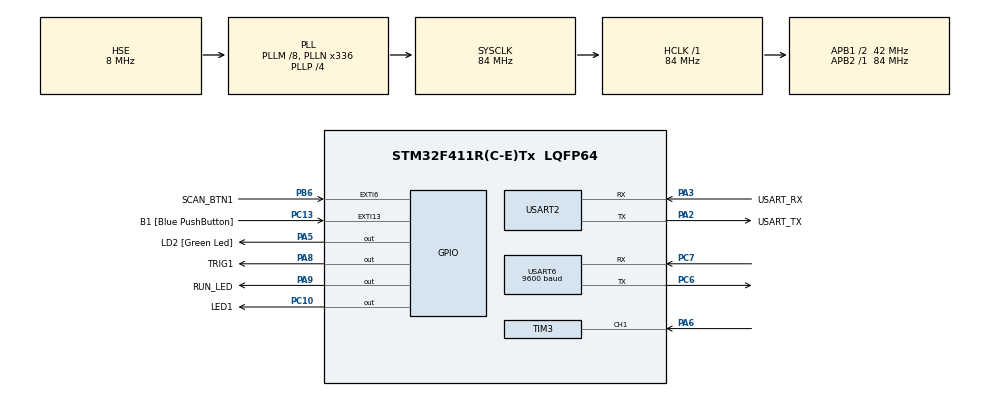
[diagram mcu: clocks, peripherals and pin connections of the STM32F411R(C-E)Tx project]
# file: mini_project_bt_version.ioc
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Mcu.Family=STM32F4
Mcu.Name=STM32F411R(C-E)Tx
Mcu.Package=LQFP64
NVIC.EXTI9_5_IRQn=true\:0\:0\:false\:false\:true\:true\:true\:true
NVIC.PriorityGroup=NVIC_PRIORITYGROUP_0
NVIC.TIM2_IRQn=true\:0\:0\:false\:false\:true\:true\:true\:true
NVIC.TIM3_IRQn=true\:0\:0\:false\:false\:true\:true\:true\:true
NVIC.USART2_IRQn=true\:0\:0\:false\:false\:true\:true\:true\:true
NVIC.USART6_IRQn=true\:0\:0\:false\:false\:true\:true\:true\:true
PA13.GPIO_Label=TMS
PA13.Mode=Serial_Wire
PA13.Signal=SYS_JTMS-SWDIO
PA14.GPIO_Label=TCK
PA14.Mode=Serial_Wire
PA14.Signal=SYS_JTCK-SWCLK
PA2.GPIO_Label=USART_TX
PA2.Mode=Asynchronous
PA2.Signal=USART2_TX
PA3.GPIO_Label=USART_RX
PA3.Mode=Asynchronous
PA3.Signal=USART2_RX
PA5.GPIO_Label=LD2 [Green Led]
PA5.Signal=GPIO_Output
PA6.Signal=S_TIM3_CH1
PA8.GPIO_Label=TRIG1
PA8.Signal=GPIO_Output
PA9.GPIO_Label=RUN_LED
PA9.Signal=GPIO_Output
PB3.GPIO_Label=SWO
PB3.Signal=SYS_JTDO-SWO
PB6.GPIO_Label=SCAN_BTN1
PB6.Signal=GPXTI6
PC10.GPIO_Label=LED1
PC10.Signal=GPIO_Output
PC13-ANTI_TAMP.GPIO_Label=B1 [Blue PushButton]
PC13-ANTI_TAMP.GPIO_ModeDefaultEXTI=GPIO_MODE_IT_FALLING
PC13-ANTI_TAMP.Signal=GPXTI13
PC14-OSC32_IN.Signal=RCC_OSC32_IN
PC15-OSC32_OUT.Signal=RCC_OSC32_OUT
PC6.Mode=Asynchronous
PC6.Signal=USART6_TX
PC7.Mode=Asynchronous
PC7.Signal=USART6_RX
PH0\ -\ OSC_IN.Mode=HSE-External-Oscillator
PH0\ -\ OSC_IN.Signal=RCC_OSC_IN
PH1\ -\ OSC_OUT.Mode=HSE-External-Oscillator
PH1\ -\ OSC_OUT.Signal=RCC_OSC_OUT
ProjectManager.HeapSize=0x200
ProjectManager.StackSize=0x400
ProjectManager.TargetToolchain=STM32CubeIDE
RCC.48MHZClocksFreq_Value=84000000
RCC.AHBFreq_Value=84000000
RCC.APB1CLKDivider=RCC_HCLK_DIV2
RCC.APB1Freq_Value=42000000
RCC.APB1TimFreq_Value=84000000
RCC.APB2Freq_Value=84000000
RCC.APB2TimFreq_Value=84000000
RCC.CortexFreq_Value=84000000
RCC.FLatency-AdvancedSettings=FLASH_LATENCY_2
RCC.HCLKFreq_Value=84000000
RCC.HSE_VALUE=8000000
RCC.HSI_VALUE=16000000
RCC.LSE_VALUE=32768
RCC.PLLM=8
RCC.PLLN=336
RCC.PLLP=RCC_PLLP_DIV4
RCC.PLLSourceVirtual=RCC_PLLSOURCE_HSE
RCC.SYSCLKFreq_VALUE=84000000
RCC.SYSCLKSource=RCC_SYSCLKSOURCE_PLLCLK
RCC.VCOOutputFreq_Value=336000000
SH.S_TIM3_CH1.0=TIM3_CH1,Input_Capture1_from_TI1
TIM2.Period=10000-1
TIM2.Prescaler=8400-1
TIM3.Channel-Input_Capture1_from_TI1=TIM_CHANNEL_1
TIM3.Period=0xffff-1
TIM3.Prescaler=84-1
USART2.VirtualMode=VM_ASYNC
USART6.BaudRate=9600
USART6.VirtualMode=VM_ASYNC
VP_TIM2_VS_ClockSourceINT.Mode=Internal
VP_TIM3_VS_ClockSourceINT.Mode=Internal
board=NUCLEO-F411RE

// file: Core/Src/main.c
/* USER CODE BEGIN Header */
/**
  ******************************************************************************
  * @file           : main.c
  * @brief          : Main program body
  ******************************************************************************
  * @attention
  *
  * Copyright (c) 2024 STMicroelectronics.
  * All rights reserved.
  *
  * This software is licensed under terms that can be found in the LICENSE file
  * in the root directory of this software component.
  * If no LICENSE file comes with this software, it is provided AS-IS.
  *
  ******************************************************************************
  */
/* USER CODE END Header */
#include "main.h"

/* USER CODE BEGIN Includes */
#include <stdio.h>
#include <string.h>
/* USER CODE END Includes */

/* USER CODE BEGIN PD */
#ifdef __GNUC__
/* With GCC, small printf (option LD Linker->Libraries->Small printf
   set to 'Yes') calls __io_putchar() */
#define PUTCHAR_PROTOTYPE int __io_putchar(int ch)
#else
#define PUTCHAR_PROTOTYPE int fputc(int ch, FILE *f)
#endif /* __GNUC__ */
#define ARR_CNT 5
#define CMD_SIZE 50

#define DEBUG 1
/* USER CODE END PD */

TIM_HandleTypeDef htim2;
TIM_HandleTypeDef htim3;

UART_HandleTypeDef huart2;
UART_HandleTypeDef huart6;

/* USER CODE BEGIN PV */
uint8_t rx2char;
volatile unsigned char rx2Flag = 0;
volatile char rx2Data[50];
volatile unsigned char btFlag = 0;
uint8_t btchar;
char btData[50];

uint32_t IC_Val1 = 0;
uint32_t IC_Val2 = 0;
uint32_t Difference = 0;
uint8_t Is_First_Captured = 0;  // is the first value captured ?
uint8_t Distance  = 0;

#define ARRAYNUM 10
int readings[ARRAYNUM];      // the readings from the analog input
int idx = 0;              // the index of the current reading
int total = 0;                  // the running total
int average = 0;                // the average

#define MARGIN 11
volatile unsigned int tim2Sec;
volatile unsigned int tim2Min;
volatile unsigned int tim2SecFlag;
volatile int scanFlag1;
volatile int scanReq1;
volatile int mailOnFlag1;

volatile int BTN1;
volatile int BTN2;
volatile int BTN3;
volatile int BTN4;
/* USER CODE END PV */

void SystemClock_Config(void);
static void MX_GPIO_Init(void);
static void MX_USART2_UART_Init(void);
static void MX_TIM2_Init(void);
static void MX_TIM3_Init(void);
static void MX_USART6_UART_Init(void);
/* USER CODE BEGIN PFP */
void MX_GPIO_LED_ON(int pin);
void MX_GPIO_LED_OFF(int pin);
void bluetooth_Event();

void delay (uint16_t time);
void HAL_TIM_IC_CaptureCallback(TIM_HandleTypeDef *htim);
void HCSR04_Read (void);
/* USER CODE END PFP */

int main(void)
{

  /* USER CODE BEGIN 1 */
	int prevScanFlag1 = 0;
	char sendBuf[CMD_SIZE]={0};
  /* USER CODE END 1 */

  /* MCU Configuration--------------------------------------------------------*/

  /* Reset of all peripherals, Initializes the Flash interface and the Systick. */
  HAL_Init();

  /* Configure the system clock */
  SystemClock_Config();

  /* Initialize all configured peripherals */
  MX_GPIO_Init();
  MX_USART2_UART_Init();
  MX_TIM2_Init();
  MX_TIM3_Init();
  MX_USART6_UART_Init();
  /* USER CODE BEGIN 2 */
  HAL_UART_Receive_IT(&huart2, &rx2char,1);
  HAL_UART_Receive_IT(&huart6, &btchar,1);
  if(HAL_TIM_Base_Start_IT(&htim2) != HAL_OK)
  {
	  Error_Handler();
  }
  printf("Start main() \r\n");
  /* USER CODE END 2 */

  /* Infinite loop */
  /* USER CODE BEGIN WHILE */
  while (1)
  {
	  if(rx2Flag)
	  {
		  printf("recv2 : %s\r\n",rx2Data);
		  rx2Flag =0;
		  //HAL_UART_Transmit(&huart6, (uint8_t *)buf, strlen(buf), 0xFFFF);
	  }
	  if(btFlag)
	  {
		  printf("bt : %s\r\n",btData);
		  btFlag =0;
		  bluetooth_Event();
	  }

	  if(scanFlag1 == 1)
	  {
		  HAL_TIM_IC_Start_IT(&htim3, TIM_CHANNEL_1);
	  	  HCSR04_Read();
#if DEBUG
	  	  printf("%d cm\r\n",Distance);
#endif
	  }
#if DEBUG
	  else
	  {
		  printf("scanFlag1 : %d\t", scanFlag1);
		  printf("BTN1_State : %d\t",BTN1);
		  printf("%d cm\t",Distance);
		  printf("mailOnFlag1 : %d\t", mailOnFlag1);
		  printf("Min : %d, Sec : %d\n\r",tim2Min, tim2Sec);
	  }
#endif

	  if((!scanFlag1 && BTN1) || (tim2Sec == 0) || scanReq1)
	  {
		  scanFlag1 = 1;
		  BTN1 = 0;
		  tim2Sec = 0;
		  tim2Min = 0;
		  if(scanReq1)
			  scanReq1 = 0;
	  }

	  if(tim2Sec > 5)	//mail scanning in 5sec
		  scanFlag1 = 0;

	  if(Distance > 0 && Distance < MARGIN && scanFlag1)
		  mailOnFlag1 = 1;
	  else if(Distance >= 5 && scanFlag1)
		  mailOnFlag1 = 0;

	  HAL_GPIO_WritePin(LED1_GPIO_Port, LED1_Pin, mailOnFlag1);

	  if(prevScanFlag1 != scanFlag1)
	  {
		  if(scanFlag1 == 1)
		  {
			  prevScanFlag1 = scanFlag1;
		  }
		  else if(scanFlag1 == 0)
		  {
			  prevScanFlag1 = scanFlag1;

			  if(mailOnFlag1)
			  {
			  	  sprintf(sendBuf,"[PJT_SQL]MAIL@o\n");
			  	  HAL_UART_Transmit(&huart6, (uint8_t *)sendBuf, strlen(sendBuf), 0xFFFF);
			  	  //esp_send_data(sendBuf);
			  	  printf("Debug send : %s\r\n",sendBuf);
			  }
			  else
			  {
				  sprintf(sendBuf,"[PJT_SQL]MAIL@x\n");
				  HAL_UART_Transmit(&huart6, (uint8_t *)sendBuf, strlen(sendBuf), 0xFFFF);
				  //esp_send_data(sendBuf);
				  printf("Debug send : %s\r\n",sendBuf);
			  }
		  }
	  }

	  HAL_Delay(100);
    /* USER CODE END WHILE */

  }
}

void SystemClock_Config(void)
{
  RCC_OscInitTypeDef RCC_OscInitStruct = {0};
  RCC_ClkInitTypeDef RCC_ClkInitStruct = {0};

  /** Configure the main internal regulator output voltage
  */
  __HAL_RCC_PWR_CLK_ENABLE();
  __HAL_PWR_VOLTAGESCALING_CONFIG(PWR_REGULATOR_VOLTAGE_SCALE1);

  /** Initializes the RCC Oscillators according to the specified parameters
  * in the RCC_OscInitTypeDef structure.
  */
  RCC_OscInitStruct.OscillatorType = RCC_OSCILLATORTYPE_HSE;
  RCC_OscInitStruct.HSEState = RCC_HSE_ON;
  RCC_OscInitStruct.PLL.PLLState = RCC_PLL_ON;
  RCC_OscInitStruct.PLL.PLLSource = RCC_PLLSOURCE_HSE;
  RCC_OscInitStruct.PLL.PLLM = 8;
  RCC_OscInitStruct.PLL.PLLN = 336;
  RCC_OscInitStruct.PLL.PLLP = RCC_PLLP_DIV4;
  RCC_OscInitStruct.PLL.PLLQ = 4;
  if (HAL_RCC_OscConfig(&RCC_OscInitStruct) != HAL_OK)
  {
    Error_Handler();
  }

  /** Initializes the CPU, AHB and APB buses clocks
  */
  RCC_ClkInitStruct.ClockType = RCC_CLOCKTYPE_HCLK|RCC_CLOCKTYPE_SYSCLK
                              |RCC_CLOCKTYPE_PCLK1|RCC_CLOCKTYPE_PCLK2;
  RCC_ClkInitStruct.SYSCLKSource = RCC_SYSCLKSOURCE_PLLCLK;
  RCC_ClkInitStruct.AHBCLKDivider = RCC_SYSCLK_DIV1;
  RCC_ClkInitStruct.APB1CLKDivider = RCC_HCLK_DIV2;
  RCC_ClkInitStruct.APB2CLKDivider = RCC_HCLK_DIV1;

  if (HAL_RCC_ClockConfig(&RCC_ClkInitStruct, FLASH_LATENCY_2) != HAL_OK)
  {
    Error_Handler();
  }
}

static void MX_TIM2_Init(void)
{

  TIM_ClockConfigTypeDef sClockSourceConfig = {0};
  TIM_MasterConfigTypeDef sMasterConfig = {0};

  htim2.Instance = TIM2;
  htim2.Init.Prescaler = 8400-1;
  htim2.Init.CounterMode = TIM_COUNTERMODE_UP;
  htim2.Init.Period = 10000-1;
  htim2.Init.ClockDivision = TIM_CLOCKDIVISION_DIV1;
  htim2.Init.AutoReloadPreload = TIM_AUTORELOAD_PRELOAD_DISABLE;
  if (HAL_TIM_Base_Init(&htim2) != HAL_OK)
  {
    Error_Handler();
  }
  sClockSourceConfig.ClockSource = TIM_CLOCKSOURCE_INTERNAL;
  if (HAL_TIM_ConfigClockSource(&htim2, &sClockSourceConfig) != HAL_OK)
  {
    Error_Handler();
  }
  sMasterConfig.MasterOutputTrigger = TIM_TRGO_RESET;
  sMasterConfig.MasterSlaveMode = TIM_MASTERSLAVEMODE_DISABLE;
  if (HAL_TIMEx_MasterConfigSynchronization(&htim2, &sMasterConfig) != HAL_OK)
  {
    Error_Handler();
  }

}

static void MX_TIM3_Init(void)
{

  TIM_ClockConfigTypeDef sClockSourceConfig = {0};
  TIM_MasterConfigTypeDef sMasterConfig = {0};
  TIM_IC_InitTypeDef sConfigIC = {0};

  htim3.Instance = TIM3;
  htim3.Init.Prescaler = 84-1;
  htim3.Init.CounterMode = TIM_COUNTERMODE_UP;
  htim3.Init.Period = 0xffff-1;
  htim3.Init.ClockDivision = TIM_CLOCKDIVISION_DIV1;
  htim3.Init.AutoReloadPreload = TIM_AUTORELOAD_PRELOAD_DISABLE;
  if (HAL_TIM_Base_Init(&htim3) != HAL_OK)
  {
    Error_Handler();
  }
  sClockSourceConfig.ClockSource = TIM_CLOCKSOURCE_INTERNAL;
  if (HAL_TIM_ConfigClockSource(&htim3, &sClockSourceConfig) != HAL_OK)
  {
    Error_Handler();
  }
  if (HAL_TIM_IC_Init(&htim3) != HAL_OK)
  {
    Error_Handler();
  }
  sMasterConfig.MasterOutputTrigger = TIM_TRGO_RESET;
  sMasterConfig.MasterSlaveMode = TIM_MASTERSLAVEMODE_DISABLE;
  if (HAL_TIMEx_MasterConfigSynchronization(&htim3, &sMasterConfig) != HAL_OK)
  {
    Error_Handler();
  }
  sConfigIC.ICPolarity = TIM_INPUTCHANNELPOLARITY_RISING;
  sConfigIC.ICSelection = TIM_ICSELECTION_DIRECTTI;
  sConfigIC.ICPrescaler = TIM_ICPSC_DIV1;
  sConfigIC.ICFilter = 0;
  if (HAL_TIM_IC_ConfigChannel(&htim3, &sConfigIC, TIM_CHANNEL_1) != HAL_OK)
  {
    Error_Handler();
  }

}

static void MX_USART2_UART_Init(void)
{

  huart2.Instance = USART2;
  huart2.Init.BaudRate = 115200;
  huart2.Init.WordLength = UART_WORDLENGTH_8B;
  huart2.Init.StopBits = UART_STOPBITS_1;
  huart2.Init.Parity = UART_PARITY_NONE;
  huart2.Init.Mode = UART_MODE_TX_RX;
  huart2.Init.HwFlowCtl = UART_HWCONTROL_NONE;
  huart2.Init.OverSampling = UART_OVERSAMPLING_16;
  if (HAL_UART_Init(&huart2) != HAL_OK)
  {
    Error_Handler();
  }

}

static void MX_USART6_UART_Init(void)
{

  huart6.Instance = USART6;
  huart6.Init.BaudRate = 9600;
  huart6.Init.WordLength = UART_WORDLENGTH_8B;
  huart6.Init.StopBits = UART_STOPBITS_1;
  huart6.Init.Parity = UART_PARITY_NONE;
  huart6.Init.Mode = UART_MODE_TX_RX;
  huart6.Init.HwFlowCtl = UART_HWCONTROL_NONE;
  huart6.Init.OverSampling = UART_OVERSAMPLING_16;
  if (HAL_UART_Init(&huart6) != HAL_OK)
  {
    Error_Handler();
  }

}

static void MX_GPIO_Init(void)
{
  GPIO_InitTypeDef GPIO_InitStruct = {0};

  /* GPIO Ports Clock Enable */
  __HAL_RCC_GPIOC_CLK_ENABLE();
  __HAL_RCC_GPIOH_CLK_ENABLE();
  __HAL_RCC_GPIOA_CLK_ENABLE();
  __HAL_RCC_GPIOB_CLK_ENABLE();

  /*Configure GPIO pin Output Level */
  HAL_GPIO_WritePin(GPIOA, LD2_Pin|TRIG1_Pin|RUN_LED_Pin, GPIO_PIN_RESET);

  /*Configure GPIO pin Output Level */
  HAL_GPIO_WritePin(LED1_GPIO_Port, LED1_Pin, GPIO_PIN_RESET);

  /*Configure GPIO pin : B1_Pin */
  GPIO_InitStruct.Pin = B1_Pin;
  GPIO_InitStruct.Mode = GPIO_MODE_IT_FALLING;
  GPIO_InitStruct.Pull = GPIO_NOPULL;
  HAL_GPIO_Init(B1_GPIO_Port, &GPIO_InitStruct);

  /*Configure GPIO pins : LD2_Pin TRIG1_Pin RUN_LED_Pin */
  GPIO_InitStruct.Pin = LD2_Pin|TRIG1_Pin|RUN_LED_Pin;
  GPIO_InitStruct.Mode = GPIO_MODE_OUTPUT_PP;
  GPIO_InitStruct.Pull = GPIO_NOPULL;
  GPIO_InitStruct.Speed = GPIO_SPEED_FREQ_LOW;
  HAL_GPIO_Init(GPIOA, &GPIO_InitStruct);

  /*Configure GPIO pin : LED1_Pin */
  GPIO_InitStruct.Pin = LED1_Pin;
  GPIO_InitStruct.Mode = GPIO_MODE_OUTPUT_PP;
  GPIO_InitStruct.Pull = GPIO_NOPULL;
  GPIO_InitStruct.Speed = GPIO_SPEED_FREQ_LOW;
  HAL_GPIO_Init(LED1_GPIO_Port, &GPIO_InitStruct);

  /*Configure GPIO pin : SCAN_BTN1_Pin */
  GPIO_InitStruct.Pin = SCAN_BTN1_Pin;
  GPIO_InitStruct.Mode = GPIO_MODE_IT_RISING;
  GPIO_InitStruct.Pull = GPIO_NOPULL;
  HAL_GPIO_Init(SCAN_BTN1_GPIO_Port, &GPIO_InitStruct);

  /* EXTI interrupt init*/
  HAL_NVIC_SetPriority(EXTI9_5_IRQn, 0, 0);
  HAL_NVIC_EnableIRQ(EXTI9_5_IRQn);

}

/* USER CODE BEGIN 4 */
void MX_GPIO_LED_ON(int pin)
{
	HAL_GPIO_WritePin(LD2_GPIO_Port, pin, GPIO_PIN_SET);
}
void MX_GPIO_LED_OFF(int pin)
{
	HAL_GPIO_WritePin(LD2_GPIO_Port, pin, GPIO_PIN_RESET);
}
void bluetooth_Event()
{
	int i=0;
	char * pToken;
	char * pArray[ARR_CNT]={0};
	char recvBuf[CMD_SIZE]={0};
	char sendBuf[CMD_SIZE]={0};
	strcpy(recvBuf,btData);

	printf("btData : %s\r\n",btData);

	pToken = strtok(recvBuf,"[@]");
	while(pToken != NULL)
	{
		pArray[i] =  pToken;
		if(++i >= ARR_CNT)
			break;
		pToken = strtok(NULL,"[@]");
	}
	//printf("pArray[0] : %s\r\n",pArray[0]);
	//printf("pArray[1] : %s\r\n",pArray[1]);
	//printf("pArray[2] : %s\r\n",pArray[2]);

	if(!strcmp(pArray[1],"LED"))
	{
		if(!strcmp(pArray[2],"ON"))
		{
			MX_GPIO_LED_ON(LD2_Pin);
		}
		else if(!strcmp(pArray[2],"OFF"))
		{
			MX_GPIO_LED_OFF(LD2_Pin);
		}
		sprintf(sendBuf,"[%s]%s@%s\n",pArray[0],pArray[1],pArray[2]);
	}
	else if(!strcmp(pArray[1],"MAIL"))
	{
		if(!strcmp(pArray[2],"SCAN"))
		{
			scanReq1 = 1;
			sprintf(sendBuf,"[%s]%s@%sNING...\n",pArray[0],pArray[1],pArray[2]);
		}
		else if(!strcmp(pArray[2],"STATE"))
		{
			if(mailOnFlag1)
				sprintf(sendBuf,"[%s]%s@ON\n",pArray[0],pArray[1]);
			else if(!mailOnFlag1)
				sprintf(sendBuf,"[%s]%s@EMPTY\n",pArray[0],pArray[1]);
		}

	}
	else if(!strncmp(pArray[1]," New conn",sizeof(" New conn")))
	{
		return;
	}
	else if(!strncmp(pArray[1]," Already log",sizeof(" Already log")))
	{
		return;
	}
	else
		return;

	//sprintf(sendBuf,"[%s]%s@%s\n",pArray[0],pArray[1],pArray[2]);
	HAL_UART_Transmit(&huart6, (uint8_t *)sendBuf, strlen(sendBuf), 0xFFFF);
	printf("Debug send : %s\r\n",sendBuf);
}

void delay (uint16_t time)
{
	__HAL_TIM_SET_COUNTER(&htim3, 0);
	while (__HAL_TIM_GET_COUNTER(&htim3) < time);
}
void HAL_TIM_IC_CaptureCallback(TIM_HandleTypeDef *htim)
{
	if (htim->Channel == HAL_TIM_ACTIVE_CHANNEL_1)  // if the interrupt source is channel1
	{
		if (Is_First_Captured==0) // if the first value is not captured
		{
			IC_Val1 = HAL_TIM_ReadCapturedValue(htim, TIM_CHANNEL_1); // read the first value
			Is_First_Captured = 1;  // set the first captured as true
			// Now change the polarity to falling edge
			__HAL_TIM_SET_CAPTUREPOLARITY(htim, TIM_CHANNEL_1, TIM_INPUTCHANNELPOLARITY_FALLING);
		}
		else if (Is_First_Captured==1)   // if the first is already captured
		{
			IC_Val2 = HAL_TIM_ReadCapturedValue(htim, TIM_CHANNEL_1);  // read second value
			__HAL_TIM_SET_COUNTER(htim, 0);  // reset the counter

			if (IC_Val2 > IC_Val1)
			{
				Difference = IC_Val2-IC_Val1;
			}

			else if (IC_Val1 > IC_Val2)
			{
				Difference = (0xffff - IC_Val1) + IC_Val2;
			}
#if 1
			HCSR04_Read();

			// subtract the last reading:
			total = total - readings[idx];
			// read from the sensor:
			readings[idx] = Difference;
			// add the reading to the total:
			total = total + readings[idx];
			// advance to the next position in the array:
			idx = idx + 1;

			// if we're at the end of the array...
			if (idx >= ARRAYNUM)
			{
				// ...wrap around to the beginning:
				idx = 0;
			}
			// calculate the average:
			average = total / ARRAYNUM;
#endif

			Distance = average * .034/2;
			Is_First_Captured = 0; // set it back to false

			// set polarity to rising edge
			__HAL_TIM_SET_CAPTUREPOLARITY(htim, TIM_CHANNEL_1, TIM_INPUTCHANNELPOLARITY_RISING);
			__HAL_TIM_DISABLE_IT(&htim3, TIM_IT_CC1);
		}
	}
}

void HCSR04_Read (void)
{
	HAL_GPIO_WritePin(TRIG1_GPIO_Port, TRIG1_Pin, GPIO_PIN_SET);  // pull the TRIG pin HIGH
	delay(10);  // wait for 10 us
	HAL_GPIO_WritePin(TRIG1_GPIO_Port, TRIG1_Pin, GPIO_PIN_RESET);  // pull the TRIG pin low

	__HAL_TIM_ENABLE_IT(&htim3, TIM_IT_CC1);
}

void HAL_GPIO_EXTI_Callback(uint16_t GPIO_Pin)
{
	switch (GPIO_Pin)
	{
	case SCAN_BTN1_Pin:
		BTN1 = 1;
		break;
#if 0
	case SCAN_BTN2_Pin:
		BTN2 = 2;
		break;
	case SCAN_BTN3_Pin:
		BTN3 = 3;
		break;
	case SCAN_BTN4_Pin:
		BTN4 = 4;
		break;
#endif
	default:
		BTN1 = 0;
		BTN2 = 0;
		BTN3 = 0;
		BTN4 = 0;
		break;
	}
}

void HAL_TIM_PeriodElapsedCallback(TIM_HandleTypeDef *htim)
{
	tim2Sec++;

	if(tim2Sec > 59)
	{
		tim2Sec = 0;
		tim2Min++;
	}
	if(tim2Min > 10)
	{
		tim2Min = 0;
	}

	HAL_GPIO_TogglePin(RUN_LED_GPIO_Port, RUN_LED_Pin);
}

void HAL_UART_RxCpltCallback(UART_HandleTypeDef *huart)
{
    if(huart->Instance == USART2)
    {
    	static int i=0;
    	rx2Data[i] = rx2char;
    	if((rx2Data[i] == '\r')||(btData[i] == '\n'))
    	{
    		rx2Data[i] = '\0';
    		rx2Flag = 1;
    		i = 0;
    	}
    	else
    	{
    		i++;
    	}
    	HAL_UART_Receive_IT(&huart2, &rx2char,1);
    }
    if(huart->Instance == USART6)
    {
    	static int i=0;
    	btData[i] = btchar;
    	if((btData[i] == '\n') || btData[i] == '\r')
    	{
    		btData[i] = '\0';
    		btFlag = 1;
    		i = 0;
    	}
    	else
    	{
    		i++;
    	}
    	HAL_UART_Receive_IT(&huart6, &btchar,1);
    }
}

/**0
  * @brief  Retargets the C library printf function to the USART.
  * @param  None
  * @retval None
  */
PUTCHAR_PROTOTYPE
{
  /* Place your implementation of fputc here */
  /* e.g. write a character to the USART6 and Loop until the end of transmission */
  HAL_UART_Transmit(&huart2, (uint8_t *)&ch, 1, 0xFFFF);

  return ch;
}
/* USER CODE END 4 */

void Error_Handler(void)
{
  __disable_irq();
  while (1)
  {
  }
}
